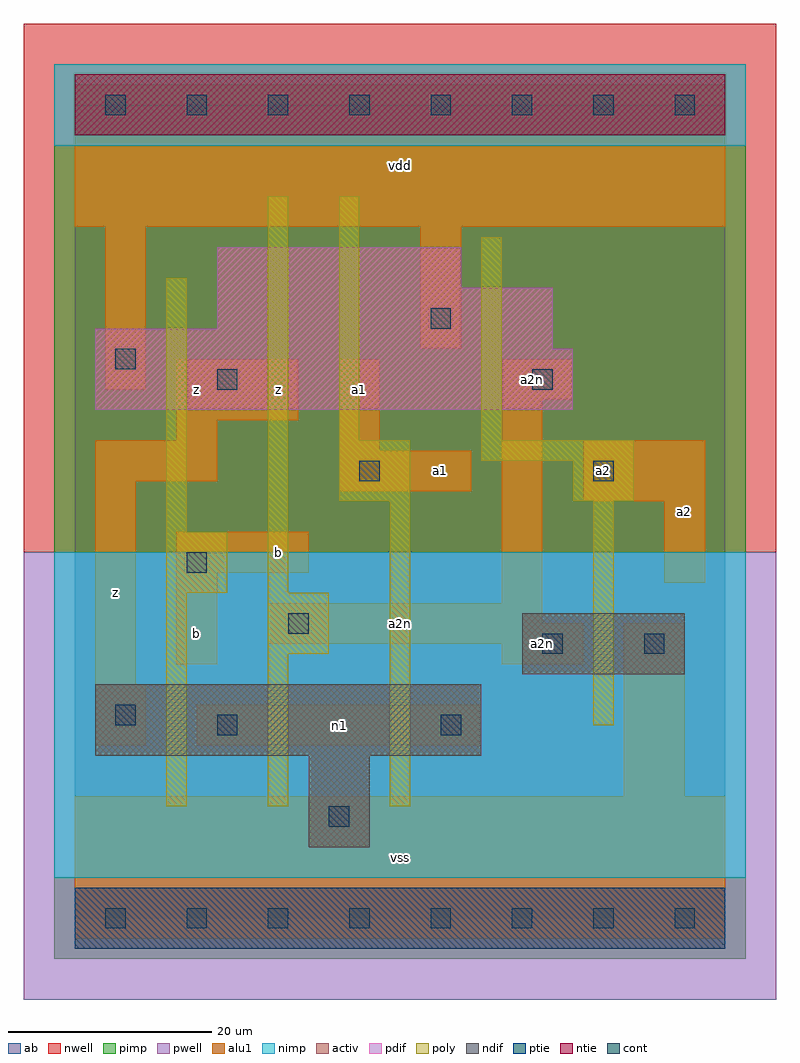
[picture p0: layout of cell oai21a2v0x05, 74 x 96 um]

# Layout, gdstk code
import gdstk
lib = gdstk.Library(unit=1e-6, precision=1e-09)
def R(c, l, rs):  # rectangles x0, y0, x1, y1
    for r in rs: c.add(gdstk.rectangle(r[:2], r[2:], *l))
def A(c, l, x, y, w, h, nx, ny, dx, dy):  # array of equal rectangles
    R(c, l, [(x+i*dx, y+j*dy, x+i*dx+w, y+j*dy+h) for i in range(nx) for j in range(ny)])
ndif = (3, 0)
pdif = (4, 0)
ntie = (5, 0)
ptie = (6, 0)
cont = (25, 0)
pwell = (41, 0)
nwell = (42, 0)
activ = (43, 0)
pimp = (44, 0)
nimp = (45, 0)
poly = (46, 0)
alu1 = (49, 0)
ab = (63, 0)

oai21a2v0x05 = lib.new_cell('oai21a2v0x05')
R(oai21a2v0x05, ndif, [(23,7,29,16), (2,16,40,23), (44,24,60,30)])
R(oai21a2v0x05, pdif, [(2,50,49,56), (2,56,47,58), (14,58,47,62), (14,62,38,66)])
R(oai21a2v0x05, ntie, [(0,77,64,83)])
R(oai21a2v0x05, ptie, [(0,-3,64,3)])
A(oai21a2v0x05, cont, 3, -1, 2, 2, 8, 2, 8, 80)
R(oai21a2v0x05, cont, [(25,9,27,11), (14,18,16,20), (36,18,38,20), (4,19,6,21), (46,26,48,28), (56,26,58,28), (21,28,23,30), (11,34,13,36), (28,43,30,45), (51,43,53,45), (14,52,16,54), (45,52,47,54), (4,54,6,56), (35,58,37,60)])
R(oai21a2v0x05, pwell, [(-5,-8,69,36)])
R(oai21a2v0x05, nwell, [(-5,36,69,88)])
R(oai21a2v0x05, activ, [(0,-3,64,3), (23,7,29,16), (2,16,40,23), (44,24,60,30), (2,50,49,56), (2,56,47,58), (14,58,47,62), (14,62,38,66), (0,77,64,83)])
R(oai21a2v0x05, pimp, [(-2,-4,66,4), (-2,36,66,76)])
R(oai21a2v0x05, nimp, [(-2,4,66,36), (-2,76,66,84)])
R(oai21a2v0x05, poly, [(9,11,11,32), (19,11,21,26), (31,11,33,41), (51,19,53,41), (19,26,25,32), (9,32,15,38), (19,32,21,71), (9,38,11,63), (26,41,33,47), (49,41,55,45), (40,45,55,47), (26,47,28,71), (40,47,42,67)])
R(oai21a2v0x05, alu1, [(0,-2,64,12), (54,12,60,29), (2,17,7,23), (12,17,40,21), (2,23,6,43), (10,25,14,34), (42,25,50,27), (19,27,50,29), (19,29,46,31), (42,31,46,51), (58,33,62,41), (10,34,23,38), (50,41,62,47), (26,42,39,46), (2,43,14,47), (26,46,30,55), (10,47,14,49), (10,49,22,55), (42,51,49,55), (3,52,7,68), (34,56,38,68), (0,68,64,82)])
R(oai21a2v0x05, ab, [(0,0,64,80)])
oai21a2v0x05.add(gdstk.Label('n1', (26,19), layer=49, texttype=0))
oai21a2v0x05.add(gdstk.Label('a2n', (32,29), layer=49, texttype=0))
oai21a2v0x05.add(gdstk.Label('a2n', (46,27), layer=49, texttype=0))
oai21a2v0x05.add(gdstk.Label('a2n', (45,53), layer=49, texttype=0))
oai21a2v0x05.add(gdstk.Label('z', (4,32), layer=49, texttype=0))
oai21a2v0x05.add(gdstk.Label('b', (12,28), layer=49, texttype=0))
oai21a2v0x05.add(gdstk.Label('z', (12,52), layer=49, texttype=0))
oai21a2v0x05.add(gdstk.Label('b', (20,36), layer=49, texttype=0))
oai21a2v0x05.add(gdstk.Label('z', (20,52), layer=49, texttype=0))
oai21a2v0x05.add(gdstk.Label('a1', (28,52), layer=49, texttype=0))
oai21a2v0x05.add(gdstk.Label('vss', (32,6), layer=49, texttype=0))
oai21a2v0x05.add(gdstk.Label('a1', (36,44), layer=49, texttype=0))
oai21a2v0x05.add(gdstk.Label('vdd', (32,74), layer=49, texttype=0))
oai21a2v0x05.add(gdstk.Label('a2', (60,40), layer=49, texttype=0))
oai21a2v0x05.add(gdstk.Label('a2', (52,44), layer=49, texttype=0))

lib.write_gds('oai21a2v0x05.gds')
